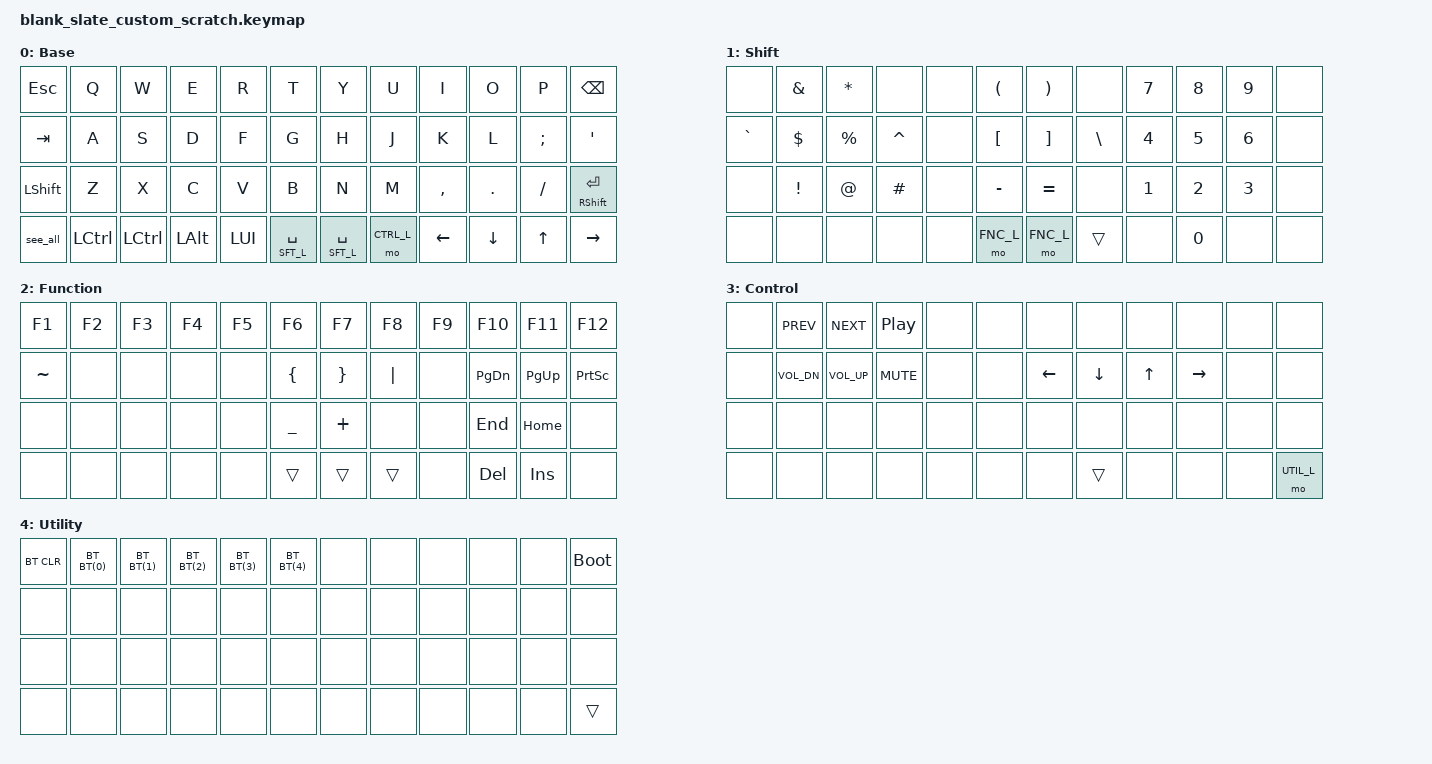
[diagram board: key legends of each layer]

/*
 * Copyright (c) 2020 The ZMK Contributors
 *
 * SPDX-License-Identifier: MIT
 */

#include <behaviors.dtsi>
#include <dt-bindings/zmk/keys.h>
#include <dt-bindings/zmk/bt.h>
#include <dt-bindings/zmk/ext_power.h>

/
{
    macros {
        see_all: see_all {
            compatible = "zmk,behavior-macro";
            #binding-cells = <0>;
            bindings =
                = <&macro_press &kp LCTRL>
                , <&macro_tap &kp UP>
                , <&macro_release &kp LCTRL>
                ;
        };
    };

    keymap
    {
        compatible = "zmk,keymap";
        base_layer {
            label = "Base";
            bindings = <
&kp ESC     &kp Q       &kp W       &kp E       &kp R       &kp T               &kp Y               &kp U           &kp I       &kp O       &kp P        &kp BSPC
&kp TAB     &kp A       &kp S       &kp D       &kp F       &kp G               &kp H               &kp J           &kp K       &kp L       &kp SEMI     &kp SQT
&kp LSHIFT  &kp Z       &kp X       &kp C       &kp V       &kp B               &kp N               &kp M           &kp COMMA   &kp DOT     &kp SLASH    &mt RSHIFT RET
&see_all    &kp LCTRL 	&kp LCTRL   &kp LALT    &kp LUI     &lt SFT_L SPACE	    &lt SFT_L SPACE     &mo CTRL_L      &kp LEFT    &kp DOWN    &kp UP 	     &kp RIGHT
            >;
        };

        sft_layer {
            label = "Shift";
            bindings = <
&none       &kp AMPS   &kp STAR    &none       &none       &kp LPAR    &kp RPAR   &none       &kp N7   &kp N8   &kp N9   &none
&kp GRAVE   &kp DLLR   &kp PRCNT   &kp CARET   &none       &kp LBKT    &kp RBKT   &kp BSLH    &kp N4   &kp N5   &kp N6   &none
&none       &kp EXCL   &kp AT      &kp HASH    &none       &kp MINUS   &kp EQUAL  &none       &kp N1   &kp N2   &kp N3   &none
&none 	    &none      &none       &none       &none       &mo FNC_L   &mo FNC_L  &trans      &none    &kp N0   &none    &none
            >;
        };

        fnc_layer {
            label = "Function";
            bindings = <
&kp F1      &kp F2   &kp F3   &kp F4      &kp F5      &kp F6      &kp F7      &kp F8     &kp F9    &kp F10     &kp F11      &kp F12
&kp TILDE   &none    &none    &none       &none       &kp LBRC    &kp RBRC    &kp PIPE   &none     &kp PG_DN   &kp PG_UP    &kp PSCRN
&none       &none    &none    &none       &none       &kp UNDER   &kp PLUS    &none      &none     &kp END     &kp HOME     &none
&none       &none    &none    &none       &none       &trans      &trans      &trans     &none     &kp DEL     &kp INS      &none
            >;
        };

        ctrl_layer {
            label = "Control";
            bindings = <
&none   &kp C_PREV     &kp C_NEXT     &kp C_PP      &none   &none   &none       &none       &none   &none       &none   &none
&none   &kp C_VOL_DN   &kp C_VOL_UP   &kp C_MUTE    &none   &none   &kp LEFT    &kp DOWN    &kp UP  &kp RIGHT   &none   &none
&none   &none          &none          &none         &none   &none   &none       &none       &none   &none       &none   &none
&none   &none          &none          &none         &none   &none   &none       &trans      &none   &none       &none   &mo UTIL_L
            >;
        };

        util_layer {
            label = "Utility";
            bindings = <
&bt BT_CLR  &bt BT(0)   &bt BT(1)   &bt BT(2)   &bt BT(3)   &bt BT(4)   &none   &none   &none   &none   &none   &bootloader
&none       &none       &none       &none       &none       &none       &none   &none   &none   &none   &none   &none
&none       &none       &none       &none       &none       &none       &none   &none   &none   &none   &none   &none
&none       &none       &none       &none       &none       &none       &none   &none   &none   &none   &none   &trans
            >;
        };
    };
};
